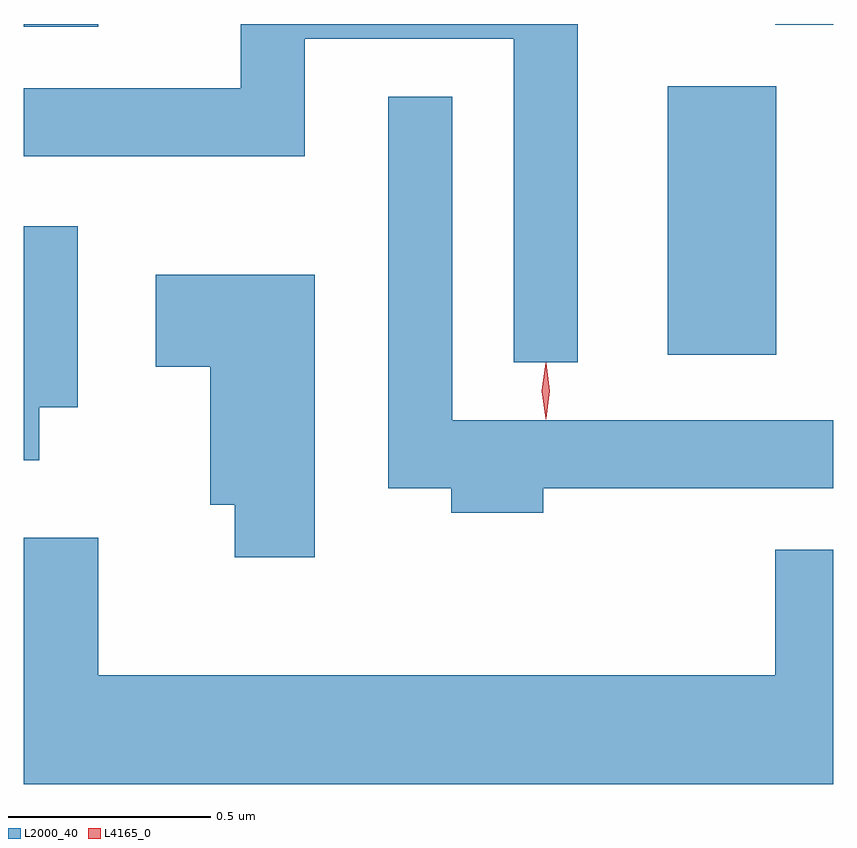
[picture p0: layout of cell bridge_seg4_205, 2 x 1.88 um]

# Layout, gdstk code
import gdstk
lib = gdstk.Library(unit=1e-6, precision=1e-09)
def R(c, l, rs):  # rectangles x0, y0, x1, y1
    for r in rs: c.add(gdstk.rectangle(r[:2], r[2:], *l))
def P(c, l, *ps):  # polygons
    for p in ps: c.add(gdstk.Polygon(p, *l))
L2000_40 = (2000, 40)
L4165_0 = (4165, 0)

bridge_seg4_205 = lib.new_cell('bridge_seg4_205')
R(bridge_seg4_205, L2000_40, [(1048.126,1313.556,1048.394,1314.219), (1046.535,1314.366,1046.719,1314.373), (1048.391,1314.371,1048.535,1314.373)])
P(bridge_seg4_205, L2000_40, [(1047.904,1314.373),(1047.071,1314.373),(1047.071,1314.214),(1046.535,1314.214),(1046.535,1314.046),(1047.229,1314.046),(1047.229,1314.336),(1047.746,1314.336),(1047.746,1313.538),(1047.904,1313.538)],
  [(1047.819,1313.226),(1048.535,1313.226),(1048.535,1313.394),(1047.594,1313.394),(1047.594,1314.193),(1047.436,1314.193),(1047.436,1313.226),(1047.591,1313.226),(1047.591,1313.166),(1047.819,1313.166)],
  [(1046.574,1313.426),(1046.669,1313.426),(1046.669,1313.874),(1046.535,1313.874),(1046.535,1313.296),(1046.574,1313.296)],
  [(1047.254,1313.754),(1046.861,1313.754),(1046.861,1313.526),(1046.996,1313.526),(1046.996,1313.186),(1047.056,1313.186),(1047.056,1313.056),(1047.254,1313.056)],
  [(1048.535,1313.074),(1048.391,1313.074),(1048.391,1312.764),(1046.719,1312.764),(1046.719,1313.104),(1046.535,1313.104),(1046.535,1312.496),(1048.535,1312.496)])
P(bridge_seg4_205, L4165_0, [(1047.825,1313.397),(1047.825,1313.398),(1047.815,1313.467),(1047.825,1313.536),(1047.825,1313.536),(1047.826,1313.536),(1047.835,1313.467),(1047.826,1313.398)],
  [(1047.824,1313.399),(1047.824,1313.4),(1047.815,1313.466),(1047.824,1313.532),(1047.825,1313.533),(1047.825,1313.532),(1047.834,1313.466),(1047.825,1313.4)])

lib.write_gds('bridge_seg4_205.gds')
